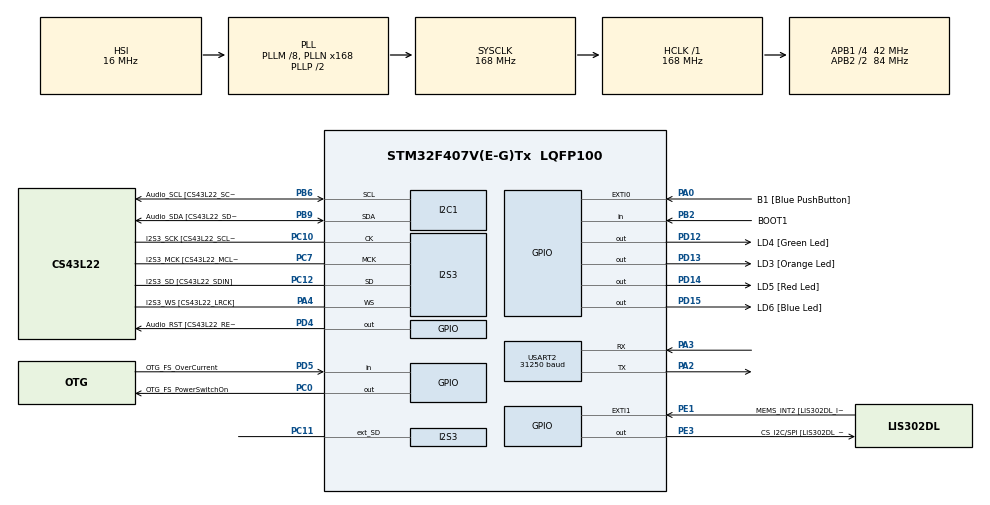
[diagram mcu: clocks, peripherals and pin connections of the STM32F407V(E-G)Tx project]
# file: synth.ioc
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Dma.Request0=SPI3_TX
Dma.SPI3_TX.0.Direction=DMA_MEMORY_TO_PERIPH
Dma.SPI3_TX.0.FIFOMode=DMA_FIFOMODE_DISABLE
Dma.SPI3_TX.0.Instance=DMA1_Stream5
Dma.SPI3_TX.0.MemDataAlignment=DMA_MDATAALIGN_HALFWORD
Dma.SPI3_TX.0.MemInc=DMA_MINC_ENABLE
Dma.SPI3_TX.0.Mode=DMA_CIRCULAR
Dma.SPI3_TX.0.PeriphDataAlignment=DMA_PDATAALIGN_HALFWORD
Dma.SPI3_TX.0.PeriphInc=DMA_PINC_DISABLE
Dma.SPI3_TX.0.Priority=DMA_PRIORITY_HIGH
I2S3.AudioFreq=I2S_AUDIOFREQ_48K
I2S3.ErrorAudioFreq=-2.34 %
I2S3.FullDuplexMode=I2S_FULLDUPLEXMODE_ENABLE
I2S3.Instance=SPI$Index
I2S3.RealAudioFreq=46.875 KHz
I2S3.VirtualMode=I2S_MODE_MASTER
Mcu.Family=STM32F4
Mcu.Name=STM32F407V(E-G)Tx
Mcu.Package=LQFP100
NVIC.DMA1_Stream5_IRQn=true\:0\:0\:false\:false\:true\:false\:true
NVIC.PriorityGroup=NVIC_PRIORITYGROUP_0
PA0-WKUP.GPIO_Label=B1 [Blue PushButton]
PA0-WKUP.GPIO_ModeDefaultEXTI=GPIO_MODE_EVT_RISING
PA0-WKUP.GPIO_PuPd=GPIO_NOPULL
PA0-WKUP.Signal=GPXTI0
PA10.GPIO_Label=OTG_FS_ID
PA10.GPIO_Mode=GPIO_MODE_AF_PP
PA10.GPIO_PuPd=GPIO_NOPULL
PA10.GPIO_Speed=GPIO_SPEED_FREQ_LOW
PA10.Signal=USB_OTG_FS_ID
PA11.GPIO_Label=OTG_FS_DM
PA11.GPIO_Mode=GPIO_MODE_AF_PP
PA11.GPIO_PuPd=GPIO_NOPULL
PA11.GPIO_Speed=GPIO_SPEED_FREQ_LOW
PA11.Signal=USB_OTG_FS_DM
PA12.GPIO_Label=OTG_FS_DP
PA12.GPIO_Mode=GPIO_MODE_AF_PP
PA12.GPIO_PuPd=GPIO_NOPULL
PA12.GPIO_Speed=GPIO_SPEED_FREQ_LOW
PA12.Signal=USB_OTG_FS_DP
PA13.GPIO_Label=SWDIO
PA13.Signal=SYS_JTMS-SWDIO
PA14.GPIO_Label=SWCLK
PA14.Signal=SYS_JTCK-SWCLK
PA2.Mode=Asynchronous
PA2.Signal=USART2_TX
PA3.Mode=Asynchronous
PA3.Signal=USART2_RX
PA4.GPIO_Label=I2S3_WS [CS43L22_LRCK]
PA4.GPIO_Mode=GPIO_MODE_AF_PP
PA4.GPIO_PuPd=GPIO_NOPULL
PA4.GPIO_Speed=GPIO_SPEED_FREQ_LOW
PA4.Mode=Full_Duplex_Master
PA4.Signal=I2S3_WS
PA5.GPIO_Label=SPI1_SCK [LIS302DL_SCL/SPC]
PA5.GPIO_Mode=GPIO_MODE_AF_PP
PA5.GPIO_PuPd=GPIO_NOPULL
PA5.GPIO_Speed=GPIO_SPEED_FREQ_LOW
PA5.Signal=SPI1_SCK
PA6.GPIO_Label=SPI1_MISO [LIS302DL_SDO]
PA6.GPIO_Mode=GPIO_MODE_AF_PP
PA6.GPIO_PuPd=GPIO_NOPULL
PA6.GPIO_Speed=GPIO_SPEED_FREQ_LOW
PA6.Signal=SPI1_MISO
PA7.GPIO_Label=SPI1_MOSI [LIS302DL_SDA/SDI/SDO]
PA7.GPIO_Mode=GPIO_MODE_AF_PP
PA7.GPIO_PuPd=GPIO_NOPULL
PA7.GPIO_Speed=GPIO_SPEED_FREQ_LOW
PA7.Signal=SPI1_MOSI
PA9.GPIO_Label=VBUS_FS
PA9.GPIO_Mode=GPIO_MODE_INPUT
PA9.GPIO_PuPd=GPIO_NOPULL
PA9.Signal=USB_OTG_FS_VBUS
PB10.GPIO_Label=CLK_IN [MP45DT02_CLK]
PB10.GPIO_Mode=GPIO_MODE_AF_PP
PB10.GPIO_PuPd=GPIO_NOPULL
PB10.GPIO_Speed=GPIO_SPEED_FREQ_LOW
PB10.Signal=I2S2_CK
PB2.GPIO_Label=BOOT1
PB2.GPIO_Mode=GPIO_MODE_INPUT
PB2.GPIO_PuPd=GPIO_NOPULL
PB2.Signal=GPIO_Input
PB3.GPIO_Label=SWO
PB3.Signal=SYS_JTDO-SWO
PB6.GPIO_Label=Audio_SCL [CS43L22_SCL]
PB6.GPIO_Mode=GPIO_MODE_AF_OD
PB6.GPIO_PuPd=GPIO_NOPULL
PB6.GPIO_Speed=GPIO_SPEED_FREQ_LOW
PB6.Mode=I2C
PB6.Signal=I2C1_SCL
PB9.GPIO_Label=Audio_SDA [CS43L22_SDA]
PB9.GPIO_Mode=GPIO_MODE_AF_OD
PB9.GPIO_PuPd=GPIO_NOPULL
PB9.GPIO_Speed=GPIO_SPEED_FREQ_LOW
PB9.Mode=I2C
PB9.Signal=I2C1_SDA
PC0.GPIO_Label=OTG_FS_PowerSwitchOn
PC0.GPIO_PuPd=GPIO_NOPULL
PC0.GPIO_Speed=GPIO_SPEED_FREQ_LOW
PC0.PinState=GPIO_PIN_SET
PC0.Signal=GPIO_Output
PC10.GPIO_Label=I2S3_SCK [CS43L22_SCLK]
PC10.GPIO_Mode=GPIO_MODE_AF_PP
PC10.GPIO_PuPd=GPIO_NOPULL
PC10.GPIO_Speed=GPIO_SPEED_FREQ_LOW
PC10.Mode=Full_Duplex_Master
PC10.Signal=I2S3_CK
PC11.Mode=Full_Duplex_Master
PC11.Signal=I2S3_ext_SD
PC12.GPIO_Label=I2S3_SD [CS43L22_SDIN]
PC12.GPIO_Mode=GPIO_MODE_AF_PP
PC12.GPIO_PuPd=GPIO_NOPULL
PC12.GPIO_Speed=GPIO_SPEED_FREQ_LOW
PC12.Mode=Full_Duplex_Master
PC12.Signal=I2S3_SD
PC14-OSC32_IN.GPIO_Label=PC14-OSC32_IN
PC14-OSC32_IN.Signal=RCC_OSC32_IN
PC15-OSC32_OUT.GPIO_Label=PC15-OSC32_OUT
PC15-OSC32_OUT.Signal=RCC_OSC32_OUT
PC3.GPIO_Label=PDM_OUT [MP45DT02_DOUT]
PC3.GPIO_Mode=GPIO_MODE_AF_PP
PC3.GPIO_PuPd=GPIO_NOPULL
PC3.GPIO_Speed=GPIO_SPEED_FREQ_LOW
PC3.Signal=I2S2_SD
PC7.GPIO_Label=I2S3_MCK [CS43L22_MCLK]
PC7.GPIO_Mode=GPIO_MODE_AF_PP
PC7.GPIO_PuPd=GPIO_NOPULL
PC7.GPIO_Speed=GPIO_SPEED_FREQ_LOW
PC7.Mode=Master_Clock_Activated
PC7.Signal=I2S3_MCK
PD12.GPIO_Label=LD4 [Green Led]
PD12.GPIO_PuPd=GPIO_NOPULL
PD12.GPIO_Speed=GPIO_SPEED_FREQ_LOW
PD12.Signal=GPIO_Output
PD13.GPIO_Label=LD3 [Orange Led]
PD13.GPIO_PuPd=GPIO_NOPULL
PD13.GPIO_Speed=GPIO_SPEED_FREQ_LOW
PD13.Signal=GPIO_Output
PD14.GPIO_Label=LD5 [Red Led]
PD14.GPIO_PuPd=GPIO_NOPULL
PD14.GPIO_Speed=GPIO_SPEED_FREQ_LOW
PD14.Signal=GPIO_Output
PD15.GPIO_Label=LD6 [Blue Led]
PD15.GPIO_PuPd=GPIO_NOPULL
PD15.GPIO_Speed=GPIO_SPEED_FREQ_LOW
PD15.Signal=GPIO_Output
PD4.GPIO_Label=Audio_RST [CS43L22_RESET]
PD4.GPIO_PuPd=GPIO_NOPULL
PD4.GPIO_Speed=GPIO_SPEED_FREQ_LOW
PD4.Signal=GPIO_Output
PD5.GPIO_Label=OTG_FS_OverCurrent
PD5.GPIO_Mode=GPIO_MODE_INPUT
PD5.GPIO_PuPd=GPIO_NOPULL
PD5.Signal=GPIO_Input
PE1.GPIO_Label=MEMS_INT2 [LIS302DL_INT2]
PE1.GPIO_ModeDefaultEXTI=GPIO_MODE_EVT_RISING
PE1.GPIO_PuPd=GPIO_NOPULL
PE1.Signal=GPXTI1
PE3.GPIO_Label=CS_I2C/SPI [LIS302DL_CS_I2C/SPI]
PE3.GPIO_PuPd=GPIO_NOPULL
PE3.GPIO_Speed=GPIO_SPEED_FREQ_LOW
PE3.Signal=GPIO_Output
PH0-OSC_IN.GPIO_Label=PH0-OSC_IN
PH0-OSC_IN.Signal=RCC_OSC_IN
PH1-OSC_OUT.GPIO_Label=PH1-OSC_OUT
PH1-OSC_OUT.Signal=RCC_OSC_OUT
ProjectManager.HeapSize=0x200
ProjectManager.StackSize=0x400
ProjectManager.TargetToolchain=TrueSTUDIO
RCC.48MHZClocksFreq_Value=48000000
RCC.AHBFreq_Value=168000000
RCC.APB1CLKDivider=RCC_HCLK_DIV4
RCC.APB1Freq_Value=42000000
RCC.APB1TimFreq_Value=84000000
RCC.APB2CLKDivider=RCC_HCLK_DIV2
RCC.APB2Freq_Value=84000000
RCC.APB2TimFreq_Value=168000000
RCC.CortexFreq_Value=168000000
RCC.HCLKFreq_Value=168000000
RCC.HSE_VALUE=8000000
RCC.HSI_VALUE=16000000
RCC.LSE_VALUE=32768
RCC.PLLI2SN=96
RCC.PLLI2SR=4
RCC.PLLM=8
RCC.PLLN=168
RCC.PLLQ=7
RCC.SYSCLKFreq_VALUE=168000000
RCC.SYSCLKSource=RCC_SYSCLKSOURCE_PLLCLK
RCC.VCOOutputFreq_Value=336000000
USART2.BaudRate=31250
USART2.Mode=MODE_TX
USART2.VirtualMode=VM_ASYNC
board=STM32F4DISCOVERY

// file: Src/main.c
/* USER CODE BEGIN Header */
/**
  ******************************************************************************
  * @file           : main.c
  * @brief          : Main program body
  ******************************************************************************
  * @attention
  *
  * <h2><center>&copy; Copyright (c) 2020 STMicroelectronics.
  * All rights reserved.</center></h2>
  *
  * This software component is licensed by ST under BSD 3-Clause license,
  * the "License"; You may not use this file except in compliance with the
  * License. You may obtain a copy of the License at:
  *                        opensource.org/licenses/BSD-3-Clause
  *
  ******************************************************************************
  */
/* USER CODE END Header */

#include "main.h"

/* USER CODE BEGIN PM */
// oscillator wave types
#define SINE 0
#define SQUARE 1
#define SAW 2

/* USER CODE END PM */

/* USER CODE BEGIN PV */

uint8_t i;
uint16_t txBuf[4];
uint16_t rxBuf[4]; // not used but required because of I2S DMA config

/* USER CODE END PV */

void SystemClock_Config(void);
static void MX_GPIO_Init(void);
static void MX_DMA_Init(void);
static void MX_I2S3_Init(void);
static void MX_I2C1_Init(void);
static void MX_USART2_UART_Init(void);

uint16_t calculateVoices(void){
	uint32_t out = 0;

	for(int i = 0; i<numVoices; i++) {
		voices[i] = updateOsc(voices[i], SINE, 0, 0);
	}

	for(int i = 0; i<numVoices; i++) {
		out = out + voices[i].amp;
	}

	out = out >> 4;

	return out;
}

/* USER CODE BEGIN 0 */
uint16_t calculateSample(void){
	uint16_t out;
	// base oscillators
	out = calculateVoices();

	/********effects*************/

	return out;
}

void HAL_I2SEx_TxRxHalfCpltCallback(I2S_HandleTypeDef *hi2s){
	uint16_t out;

	out = calculateSample();
	//restore to buffer left and right
	txBuf[0] = out;
	txBuf[1] = out;
}

void HAL_I2SEx_TxRxCpltCallback(I2S_HandleTypeDef *hi2s){
	uint16_t out;

	out = calculateSample();
	//restore to buffer
	txBuf[2] = out;
	txBuf[3] = out;
}

/* USER CODE END 0 */

int main(void)
{

  /* MCU Configuration--------------------------------------------------------*/

  /* Reset of all peripherals, Initializes the Flash interface and the Systick. */
  HAL_Init();

  /* Configure the system clock */
  SystemClock_Config();

  /* Initialize all configured peripherals */
  MX_GPIO_Init();
  MX_DMA_Init();
  MX_I2S3_Init();
  MX_I2C1_Init();
  MX_USART2_UART_Init();
  codec_ctrl_init();

  /* USER CODE BEGIN 2 */
  HAL_I2SEx_TransmitReceive_DMA (&hi2s3, txBuf, rxBuf, 2);
  /* USER CODE END 2 */

  for(int i = 0; i<numVoices; i++) {
	  voices[i].env = &envelopes[i];
	  voices[i].env->state = IDLE;
	  voices[i].env->output = 0x0000;
	  voices[i].env->sustainLevel = 0xFA00;
	  voices[i].env->decayRate  = 0xD;
	  voices[i].env->attackRate = 0xFA;
	  voices[i].env->releaseRate = 0xFA;
	  /*
	  setTargetRatioA(voices[i].env,100);
	  setTargetRatioDR(voices[i].env,100);

	  setAttackRate(voices[i].env,4000);
	  setDecayRate(voices[i].env,4000);
	  setReleaseRate(voices[i].env,4000);
	  setSustainLevel(voices[i].env,0.9);
	*/
  }

  /* Infinite loop */
  /* USER CODE BEGIN WHILE */
  while (1)
  {

	  getMIDI();

  }
  /* USER CODE END 3 */
}

/**
 *  *  *  *  *  *  *  *  * *  *  *  *  *  *  *  *  * *  *  *  *  *  *  *  *  *
*  *  *  *  *  *  *  *  * *  *  *  *  *  *  *  *  * *  *  *  *  *  *  *  *  *
 *  *  *  *  *  *  *  *  * *  *  *  *  *  *  *  *  * *  *  *  *  *  *  *  *  *
*  *  *  *  *  *  *  *  * *  *  *  *  *  *  *  *  * *  *  *  *  *  *  *  *  *
*  *  *  *  *  *  *  *  *  INITIALIZATION CODE *  *  *  *  *  *  *  *  *
 *  *  *  *  *  *  *  *  * *  *  *  *  *  *  *  *  * *  *  *  *  *  *  *  *  *
*  *  *  *  *  *  *  *  * *  *  *  *  *  *  *  *  * *  *  *  *  *  *  *  *  *
 *  *  *  *  *  *  *  *  * *  *  *  *  *  *  *  *  * *  *  *  *  *  *  *  *  *
*  *  *  *  *  *  *  *  * *  *  *  *  *  *  *  *  * *  *  *  *  *  *  *  *  *
 *  *  *  *  *  *  *  *  * *  *  *  *  *  *  *  *  * *  *  *  *  *  *  *  *  *
 */

void SystemClock_Config(void)
{
  RCC_OscInitTypeDef RCC_OscInitStruct = {0};
  RCC_ClkInitTypeDef RCC_ClkInitStruct = {0};
  RCC_PeriphCLKInitTypeDef PeriphClkInitStruct = {0};

  /** Configure the main internal regulator output voltage
  */
  __HAL_RCC_PWR_CLK_ENABLE();
  __HAL_PWR_VOLTAGESCALING_CONFIG(PWR_REGULATOR_VOLTAGE_SCALE1);
  /** Initializes the CPU, AHB and APB busses clocks
  */
  RCC_OscInitStruct.OscillatorType = RCC_OSCILLATORTYPE_HSI;
  RCC_OscInitStruct.HSIState = RCC_HSI_ON;
  RCC_OscInitStruct.HSICalibrationValue = RCC_HSICALIBRATION_DEFAULT;
  RCC_OscInitStruct.PLL.PLLState = RCC_PLL_ON;
  RCC_OscInitStruct.PLL.PLLSource = RCC_PLLSOURCE_HSI;
  RCC_OscInitStruct.PLL.PLLM = 8;
  RCC_OscInitStruct.PLL.PLLN = 168;
  RCC_OscInitStruct.PLL.PLLP = RCC_PLLP_DIV2;
  RCC_OscInitStruct.PLL.PLLQ = 7;
  if (HAL_RCC_OscConfig(&RCC_OscInitStruct) != HAL_OK)
  {
    Error_Handler();
  }
  /** Initializes the CPU, AHB and APB busses clocks
  */
  RCC_ClkInitStruct.ClockType = RCC_CLOCKTYPE_HCLK|RCC_CLOCKTYPE_SYSCLK
                              |RCC_CLOCKTYPE_PCLK1|RCC_CLOCKTYPE_PCLK2;
  RCC_ClkInitStruct.SYSCLKSource = RCC_SYSCLKSOURCE_PLLCLK;
  RCC_ClkInitStruct.AHBCLKDivider = RCC_SYSCLK_DIV1;
  RCC_ClkInitStruct.APB1CLKDivider = RCC_HCLK_DIV4;
  RCC_ClkInitStruct.APB2CLKDivider = RCC_HCLK_DIV2;

  if (HAL_RCC_ClockConfig(&RCC_ClkInitStruct, FLASH_LATENCY_5) != HAL_OK)
  {
    Error_Handler();
  }
  PeriphClkInitStruct.PeriphClockSelection = RCC_PERIPHCLK_I2S;
  PeriphClkInitStruct.PLLI2S.PLLI2SN = 96;
  PeriphClkInitStruct.PLLI2S.PLLI2SR = 4;
  if (HAL_RCCEx_PeriphCLKConfig(&PeriphClkInitStruct) != HAL_OK)
  {
    Error_Handler();
  }
}

static void MX_I2C1_Init(void)
{

  hi2c1.Instance = I2C1;
  hi2c1.Init.ClockSpeed = 100000;
  hi2c1.Init.DutyCycle = I2C_DUTYCYCLE_2;
  hi2c1.Init.OwnAddress1 = 0;
  hi2c1.Init.AddressingMode = I2C_ADDRESSINGMODE_7BIT;
  hi2c1.Init.DualAddressMode = I2C_DUALADDRESS_DISABLE;
  hi2c1.Init.OwnAddress2 = 0;
  hi2c1.Init.GeneralCallMode = I2C_GENERALCALL_DISABLE;
  hi2c1.Init.NoStretchMode = I2C_NOSTRETCH_DISABLE;
  if (HAL_I2C_Init(&hi2c1) != HAL_OK)
  {
    Error_Handler();
  }

}

static void MX_I2S3_Init(void)
{

  hi2s3.Instance = SPI3;
  hi2s3.Init.Mode = I2S_MODE_MASTER_TX;
  hi2s3.Init.Standard = I2S_STANDARD_PHILIPS;
  hi2s3.Init.DataFormat = I2S_DATAFORMAT_16B;
  hi2s3.Init.MCLKOutput = I2S_MCLKOUTPUT_ENABLE;
  hi2s3.Init.AudioFreq = I2S_AUDIOFREQ_48K;
  hi2s3.Init.CPOL = I2S_CPOL_LOW;
  hi2s3.Init.ClockSource = I2S_CLOCK_PLL;
  hi2s3.Init.FullDuplexMode = I2S_FULLDUPLEXMODE_DISABLE;
  if (HAL_I2S_Init(&hi2s3) != HAL_OK)
  {
    Error_Handler();
  }

}

static void MX_USART2_UART_Init(void)
{

  huart2.Instance = USART2;
  huart2.Init.BaudRate = 31250;
  huart2.Init.WordLength = UART_WORDLENGTH_8B;
  huart2.Init.StopBits = UART_STOPBITS_1;
  huart2.Init.Parity = UART_PARITY_NONE;
  huart2.Init.Mode = UART_MODE_TX_RX;
  huart2.Init.HwFlowCtl = UART_HWCONTROL_NONE;
  huart2.Init.OverSampling = UART_OVERSAMPLING_16;
  if (HAL_UART_Init(&huart2) != HAL_OK)
  {
	Error_Handler();
  }

}

static void MX_DMA_Init(void)
{
  /* DMA controller clock enable */
  __HAL_RCC_DMA1_CLK_ENABLE();

  /* DMA interrupt init */
  /* DMA1_Stream5_IRQn interrupt configuration */
  HAL_NVIC_SetPriority(DMA1_Stream5_IRQn, 0, 0);
  HAL_NVIC_EnableIRQ(DMA1_Stream5_IRQn);

}

static void MX_GPIO_Init(void)
{
  GPIO_InitTypeDef GPIO_InitStruct = {0};

  /* GPIO Ports Clock Enable */
  __HAL_RCC_GPIOE_CLK_ENABLE();
  __HAL_RCC_GPIOC_CLK_ENABLE();
  __HAL_RCC_GPIOH_CLK_ENABLE();
  __HAL_RCC_GPIOA_CLK_ENABLE();
  __HAL_RCC_GPIOB_CLK_ENABLE();
  __HAL_RCC_GPIOD_CLK_ENABLE();

  /*Configure GPIO pin Output Level */
  HAL_GPIO_WritePin(CS_I2C_SPI_GPIO_Port, CS_I2C_SPI_Pin, GPIO_PIN_RESET);

  /*Configure GPIO pin Output Level */
  HAL_GPIO_WritePin(OTG_FS_PowerSwitchOn_GPIO_Port, OTG_FS_PowerSwitchOn_Pin, GPIO_PIN_SET);

  /*Configure GPIO pin Output Level */
  HAL_GPIO_WritePin(GPIOD, LD4_Pin|LD3_Pin|LD5_Pin|LD6_Pin
                          |Audio_RST_Pin, GPIO_PIN_RESET);

  /*Configure GPIO pin : CS_I2C_SPI_Pin */
  GPIO_InitStruct.Pin = CS_I2C_SPI_Pin;
  GPIO_InitStruct.Mode = GPIO_MODE_OUTPUT_PP;
  GPIO_InitStruct.Pull = GPIO_NOPULL;
  GPIO_InitStruct.Speed = GPIO_SPEED_FREQ_LOW;
  HAL_GPIO_Init(CS_I2C_SPI_GPIO_Port, &GPIO_InitStruct);

  /*Configure GPIO pin : OTG_FS_PowerSwitchOn_Pin */
  GPIO_InitStruct.Pin = OTG_FS_PowerSwitchOn_Pin;
  GPIO_InitStruct.Mode = GPIO_MODE_OUTPUT_PP;
  GPIO_InitStruct.Pull = GPIO_NOPULL;
  GPIO_InitStruct.Speed = GPIO_SPEED_FREQ_LOW;
  HAL_GPIO_Init(OTG_FS_PowerSwitchOn_GPIO_Port, &GPIO_InitStruct);

  /*Configure GPIO pin : PDM_OUT_Pin */
  GPIO_InitStruct.Pin = PDM_OUT_Pin;
  GPIO_InitStruct.Mode = GPIO_MODE_AF_PP;
  GPIO_InitStruct.Pull = GPIO_NOPULL;
  GPIO_InitStruct.Speed = GPIO_SPEED_FREQ_LOW;
  GPIO_InitStruct.Alternate = GPIO_AF5_SPI2;
  HAL_GPIO_Init(PDM_OUT_GPIO_Port, &GPIO_InitStruct);

  /*Configure GPIO pin : B1_Pin */
  GPIO_InitStruct.Pin = B1_Pin;
  GPIO_InitStruct.Mode = GPIO_MODE_EVT_RISING;
  GPIO_InitStruct.Pull = GPIO_NOPULL;
  HAL_GPIO_Init(B1_GPIO_Port, &GPIO_InitStruct);

  /*Configure GPIO pins : SPI1_SCK_Pin SPI1_MISO_Pin SPI1_MOSI_Pin */
  GPIO_InitStruct.Pin = SPI1_SCK_Pin|SPI1_MISO_Pin|SPI1_MOSI_Pin;
  GPIO_InitStruct.Mode = GPIO_MODE_AF_PP;
  GPIO_InitStruct.Pull = GPIO_NOPULL;
  GPIO_InitStruct.Speed = GPIO_SPEED_FREQ_LOW;
  GPIO_InitStruct.Alternate = GPIO_AF5_SPI1;
  HAL_GPIO_Init(GPIOA, &GPIO_InitStruct);

  /*Configure GPIO pin : BOOT1_Pin */
  GPIO_InitStruct.Pin = BOOT1_Pin;
  GPIO_InitStruct.Mode = GPIO_MODE_INPUT;
  GPIO_InitStruct.Pull = GPIO_NOPULL;
  HAL_GPIO_Init(BOOT1_GPIO_Port, &GPIO_InitStruct);

  /*Configure GPIO pin : CLK_IN_Pin */
  GPIO_InitStruct.Pin = CLK_IN_Pin;
  GPIO_InitStruct.Mode = GPIO_MODE_AF_PP;
  GPIO_InitStruct.Pull = GPIO_NOPULL;
  GPIO_InitStruct.Speed = GPIO_SPEED_FREQ_LOW;
  GPIO_InitStruct.Alternate = GPIO_AF5_SPI2;
  HAL_GPIO_Init(CLK_IN_GPIO_Port, &GPIO_InitStruct);

  /*Configure GPIO pins : LD4_Pin LD3_Pin LD5_Pin LD6_Pin
                           Audio_RST_Pin */
  GPIO_InitStruct.Pin = LD4_Pin|LD3_Pin|LD5_Pin|LD6_Pin
                          |Audio_RST_Pin;
  GPIO_InitStruct.Mode = GPIO_MODE_OUTPUT_PP;
  GPIO_InitStruct.Pull = GPIO_NOPULL;
  GPIO_InitStruct.Speed = GPIO_SPEED_FREQ_LOW;
  HAL_GPIO_Init(GPIOD, &GPIO_InitStruct);

  /*Configure GPIO pin : VBUS_FS_Pin */
  GPIO_InitStruct.Pin = VBUS_FS_Pin;
  GPIO_InitStruct.Mode = GPIO_MODE_INPUT;
  GPIO_InitStruct.Pull = GPIO_NOPULL;
  HAL_GPIO_Init(VBUS_FS_GPIO_Port, &GPIO_InitStruct);

  /*Configure GPIO pins : OTG_FS_ID_Pin OTG_FS_DM_Pin OTG_FS_DP_Pin */
  GPIO_InitStruct.Pin = OTG_FS_ID_Pin|OTG_FS_DM_Pin|OTG_FS_DP_Pin;
  GPIO_InitStruct.Mode = GPIO_MODE_AF_PP;
  GPIO_InitStruct.Pull = GPIO_NOPULL;
  GPIO_InitStruct.Speed = GPIO_SPEED_FREQ_LOW;
  GPIO_InitStruct.Alternate = GPIO_AF10_OTG_FS;
  HAL_GPIO_Init(GPIOA, &GPIO_InitStruct);

  /*Configure GPIO pin : OTG_FS_OverCurrent_Pin */
  GPIO_InitStruct.Pin = OTG_FS_OverCurrent_Pin;
  GPIO_InitStruct.Mode = GPIO_MODE_INPUT;
  GPIO_InitStruct.Pull = GPIO_NOPULL;
  HAL_GPIO_Init(OTG_FS_OverCurrent_GPIO_Port, &GPIO_InitStruct);

  /*Configure GPIO pin : MEMS_INT2_Pin */
  GPIO_InitStruct.Pin = MEMS_INT2_Pin;
  GPIO_InitStruct.Mode = GPIO_MODE_EVT_RISING;
  GPIO_InitStruct.Pull = GPIO_NOPULL;
  HAL_GPIO_Init(MEMS_INT2_GPIO_Port, &GPIO_InitStruct);

}

/* USER CODE END 4 */

void Error_Handler(void)
{
}

/************************ (C) COPYRIGHT STMicroelectronics *****END OF FILE****/
